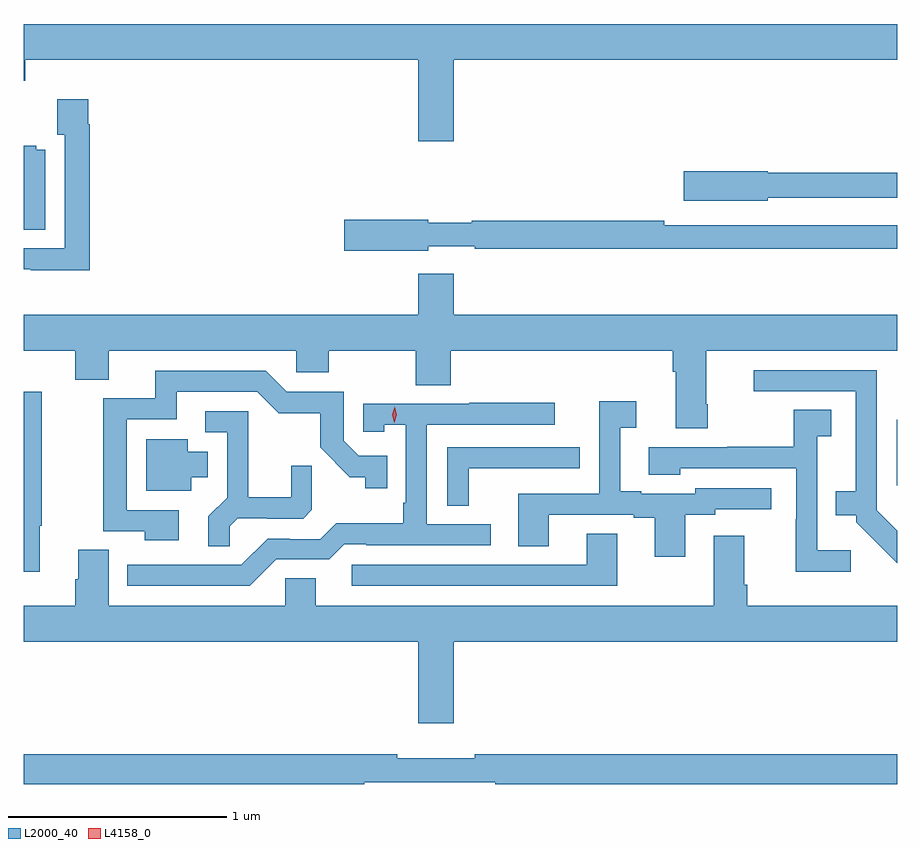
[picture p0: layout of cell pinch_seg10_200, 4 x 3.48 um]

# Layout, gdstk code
import gdstk
lib = gdstk.Library(unit=1e-6, precision=1e-09)
def P(c, l, *ps):  # polygons
    for p in ps: c.add(gdstk.Polygon(p, *l))
L2000_40 = (2000, 40)
L4158_0 = (4158, 0)

pinch_seg10_200 = lib.new_cell('pinch_seg10_200')
P(pinch_seg10_200, L2000_40, [(776.56,1271.012),(778.59,1271.012),(778.59,1271.176),(774.59,1271.176),(774.59,1270.916),(774.596,1270.916),(774.596,1271.012),(776.396,1271.012),(776.396,1270.638),(776.56,1270.638)],
  [(774.893,1270.718),(774.886,1270.718),(774.886,1270.831),(774.743,1270.831),(774.743,1270.67),(774.777,1270.67),(774.777,1270.149),(774.59,1270.149),(774.59,1270.053),(774.623,1270.053),(774.623,1270.049),(774.893,1270.049)],
  [(774.688,1270.6),(774.648,1270.6),(774.648,1270.618),(774.59,1270.618),(774.59,1270.234),(774.688,1270.234)],
  [(777.996,1270.38),(778.59,1270.38),(778.59,1270.496),(777.996,1270.496),(777.996,1270.502),(777.612,1270.502),(777.612,1270.367),(777.996,1270.367)],
  [(776.442,1270.158),(776.656,1270.158),(776.656,1270.146),(778.59,1270.146),(778.59,1270.254),(777.524,1270.254),(777.524,1270.274),(776.642,1270.274),(776.642,1270.267),(776.442,1270.267),(776.442,1270.28),(776.058,1270.28),(776.058,1270.138),(776.442,1270.138)],
  [(777.723,1269.436),(777.715,1269.436),(777.715,1269.68),(778.59,1269.68),(778.59,1269.844),(776.56,1269.844),(776.56,1270.033),(776.396,1270.033),(776.396,1269.844),(774.59,1269.844),(774.59,1269.68),(774.827,1269.68),(774.827,1269.547),(774.979,1269.547),(774.979,1269.68),(775.839,1269.68),(775.839,1269.582),(775.986,1269.582),(775.986,1269.68),(776.386,1269.68),(776.386,1269.523),(776.546,1269.523),(776.546,1269.68),(777.563,1269.68),(777.563,1269.584),(777.575,1269.584),(777.575,1269.324),(777.723,1269.324)],
  [(778.59,1268.856),(778.497,1268.949),(778.497,1269.591),(777.933,1269.591),(777.933,1269.495),(778.4,1269.495),(778.4,1269.037),(778.309,1269.037),(778.309,1268.927),(778.401,1268.927),(778.401,1268.895),(778.59,1268.706)],
  [(775.3,1268.949),(775.062,1268.949),(775.062,1269.366),(775.291,1269.366),(775.291,1269.492),(775.659,1269.492),(775.758,1269.394),(775.947,1269.394),(775.947,1269.238),(776.084,1269.101),(776.154,1269.101),(776.154,1269.051),(776.255,1269.051),(776.255,1269.198),(776.124,1269.198),(776.055,1269.267),(776.055,1269.492),(775.794,1269.492),(775.698,1269.588),(775.193,1269.588),(775.193,1269.462),(774.954,1269.462),(774.954,1268.853),(775.144,1268.853),(775.144,1268.813),(775.3,1268.813)],
  [(774.664,1268.879),(774.672,1268.879),(774.672,1269.493),(774.59,1269.493),(774.59,1268.667),(774.664,1268.667)],
  [(777.619,1268.928),(777.756,1268.928),(777.756,1268.955),(778.012,1268.955),(778.012,1269.051),(777.666,1269.051),(777.666,1269.024),(777.418,1269.024),(777.418,1269.037),(777.322,1269.037),(777.322,1269.328),(777.394,1269.328),(777.394,1269.448),(777.225,1269.448),(777.225,1269.024),(776.855,1269.024),(776.855,1268.785),(776.995,1268.785),(776.995,1268.928),(777.383,1268.928),(777.383,1268.916),(777.479,1268.916),(777.479,1268.736),(777.619,1268.736)],
  [(775.746,1268.724),(775.989,1268.724),(776.058,1268.793),(776.158,1268.793),(776.158,1268.79),(776.728,1268.79),(776.728,1268.886),(776.436,1268.886),(776.436,1269.342),(777.022,1269.342),(777.022,1269.441),(776.629,1269.441),(776.629,1269.438),(776.145,1269.438),(776.145,1269.309),(776.241,1269.309),(776.241,1269.341),(776.34,1269.341),(776.34,1268.983),(776.328,1268.983),(776.328,1268.89),(776.02,1268.89),(775.947,1268.817),(775.808,1268.817),(775.808,1268.82),(775.707,1268.82),(775.587,1268.7),(775.064,1268.7),(775.064,1268.604),(775.626,1268.604)],
  [(778.378,1268.767),(778.224,1268.767),(778.224,1269.289),(778.288,1269.289),(778.288,1269.41),(778.116,1269.41),(778.116,1269.24),(777.811,1269.24),(777.811,1269.237),(777.453,1269.237),(777.453,1269.113),(777.597,1269.113),(777.597,1269.141),(778.128,1269.141),(778.128,1268.909),(778.126,1268.909),(778.126,1268.669),(778.378,1268.669)],
  [(775.533,1268.876),(775.57,1268.913),(775.704,1268.913),(775.704,1268.91),(775.869,1268.91),(775.91,1268.951),(775.91,1269.153),(775.816,1269.153),(775.816,1269.01),(775.619,1269.01),(775.619,1269.402),(775.422,1269.402),(775.422,1269.306),(775.521,1269.306),(775.521,1269.007),(775.435,1268.921),(775.435,1268.785),(775.533,1268.785)],
  [(778.59,1269.363),(778.587,1269.363),(778.587,1269.065),(778.59,1269.062)],
  [(775.357,1269.101),(775.432,1269.101),(775.432,1269.217),(775.342,1269.217),(775.342,1269.274),(775.151,1269.274),(775.151,1269.038),(775.357,1269.038)],
  [(776.628,1269.141),(777.023,1269.141),(777.023,1269.142),(777.136,1269.142),(777.136,1269.237),(776.529,1269.237),(776.529,1268.971),(776.628,1268.971)],
  [(777.307,1268.843),(777.167,1268.843),(777.167,1268.7),(776.091,1268.7),(776.091,1268.604),(777.307,1268.604)],
  [(776.56,1268.348),(778.59,1268.348),(778.59,1268.512),(777.902,1268.512),(777.902,1268.608),(777.889,1268.608),(777.889,1268.833),(777.749,1268.833),(777.749,1268.512),(775.927,1268.512),(775.927,1268.639),(775.788,1268.639),(775.788,1268.512),(774.979,1268.512),(774.979,1268.768),(774.839,1268.768),(774.839,1268.634),(774.827,1268.634),(774.827,1268.512),(774.59,1268.512),(774.59,1268.348),(776.396,1268.348),(776.396,1267.974),(776.56,1267.974)],
  [(776.15,1267.704),(776.75,1267.704),(776.75,1267.696),(778.59,1267.696),(778.59,1267.832),(776.656,1267.832),(776.656,1267.813),(776.3,1267.813),(776.3,1267.832),(774.59,1267.832),(774.59,1267.696),(776.15,1267.696)])
P(pinch_seg10_200, L4158_0, [(776.286,1269.351),(776.286,1269.351),(776.277,1269.387),(776.288,1269.422),(776.288,1269.423),(776.289,1269.422),(776.297,1269.386),(776.286,1269.351)])

lib.write_gds('pinch_seg10_200.gds')
